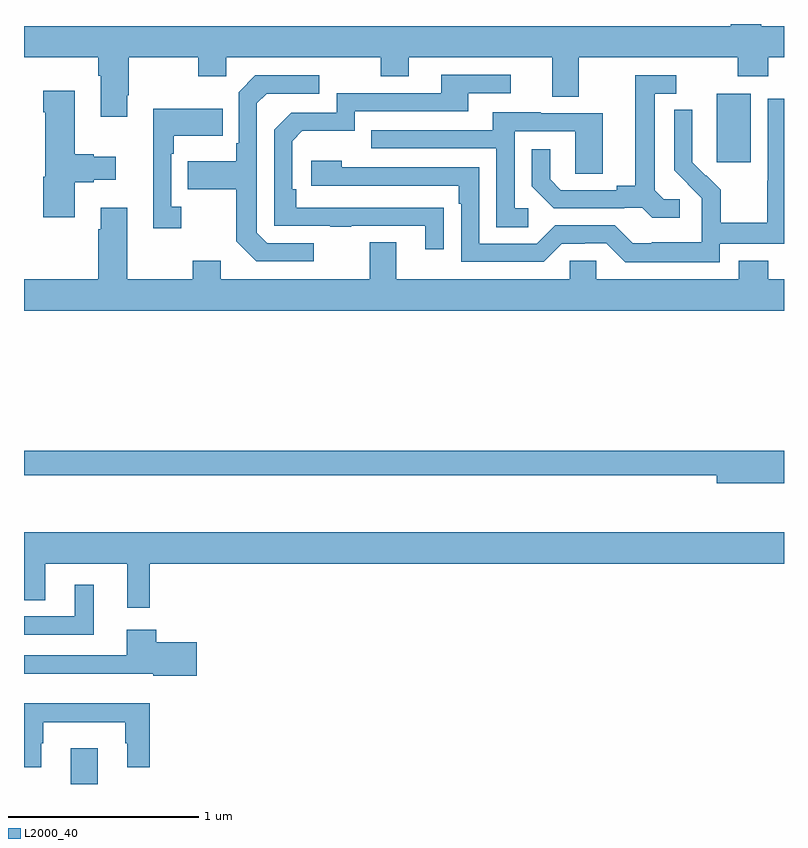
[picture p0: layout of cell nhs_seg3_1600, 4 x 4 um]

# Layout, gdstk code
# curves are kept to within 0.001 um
import gdstk
lib = gdstk.Library(unit=1e-6, precision=1e-09)
def R(c, l, rs):  # rectangles x0, y0, x1, y1
    for r in rs: c.add(gdstk.rectangle(r[:2], r[2:], *l))
def P(c, l, *ps):  # polygons
    for p in ps: c.add(gdstk.Polygon(p, *l))
L2000_40 = (2000, 40)

nhs_seg3_1600 = lib.new_cell('nhs_seg3_1600')
R(nhs_seg3_1600, L2000_40, [(193.247,722.4,193.387,722.587), (196.646,725.673,196.825,726.034)])
P(nhs_seg3_1600, L2000_40, [(193.543,726.025),(193.551,726.025),(193.551,726.224),(193.918,726.224),(193.918,726.125),(194.064,726.125),(194.064,726.224),(194.878,726.224),(194.878,726.125),(195.025,726.125),(195.025,726.224),(195.779,726.224),(195.779,726.016),(195.919,726.016),(195.919,726.224),(196.756,726.224),(196.756,726.125),(196.916,726.125),(196.916,726.224),(197,726.224),(197,726.388),(196.881,726.388),(196.881,726.4),(196.721,726.4),(196.721,726.388),(193,726.388),(193,726.224),(193.391,726.224),(193.391,726.128),(193.403,726.128),(193.403,725.913),(193.543,725.913)],
  [(195.209,725.432),(194.432,725.433),(194.432,725.53),(194.412,725.53),(194.412,725.784),(194.465,725.837),(194.742,725.837),(194.742,725.94),(195.337,725.94),(195.337,726.036),(195.562,726.036),(195.562,726.132),(195.197,726.132),(195.197,726.036),(194.646,726.036),(194.646,725.934),(194.406,725.934),(194.316,725.844),(194.316,725.337),(194.611,725.337),(194.611,725.332),(194.723,725.332),(194.723,725.337),(195.113,725.337),(195.113,725.214),(195.209,725.214)],
  [(194.524,725.247),(194.28,725.247),(194.226,725.301),(194.226,725.982),(194.277,726.033),(194.554,726.033),(194.554,726.129),(194.217,726.129),(194.13,726.042),(194.13,725.773),(194.118,725.773),(194.118,725.677),(193.861,725.677),(193.861,725.53),(194.118,725.53),(194.118,725.257),(194.223,725.151),(194.524,725.151)],
  [(196.45,725.478),(196.368,725.478),(196.321,725.525),(196.321,726.033),(196.432,726.033),(196.432,726.129),(196.217,726.129),(196.217,725.549),(196.121,725.549),(196.121,725.526),(195.826,725.526),(195.769,725.583),(195.769,725.74),(195.672,725.74),(195.672,725.546),(195.788,725.43),(196.16,725.43),(196.16,725.433),(196.254,725.433),(196.306,725.381),(196.45,725.381)],
  [(193.267,725.567),(193.367,725.567),(193.367,725.579),(193.483,725.579),(193.483,725.701),(193.367,725.701),(193.367,725.714),(193.267,725.714),(193.267,726.049),(193.1,726.049),(193.1,725.936),(193.112,725.936),(193.112,725.597),(193.1,725.597),(193.1,725.382),(193.267,725.382)],
  [(196.662,725.244),(197,725.244),(197,726.006),(196.914,726.006),(196.914,725.576),(196.912,725.576),(196.912,725.353),(196.667,725.353),(196.667,725.527),(196.59,725.604),(196.587,725.601),(196.517,725.672),(196.518,725.948),(196.422,725.948),(196.422,725.63),(196.568,725.482),(196.568,725.385),(196.566,725.385),(196.566,725.251),(196.303,725.251),(196.303,725.247),(196.203,725.247),(196.11,725.34),(195.795,725.34),(195.699,725.244),(195.396,725.244),(195.396,725.646),(194.672,725.646),(194.672,725.68),(194.511,725.68),(194.511,725.55),(195.287,725.55),(195.287,725.453),(195.3,725.453),(195.3,725.148),(195.735,725.148),(195.831,725.244),(195.95,725.244),(195.95,725.247),(196.065,725.247),(196.165,725.147),(196.662,725.147)],
  [(193.828,725.438),(193.776,725.438),(193.776,725.717),(193.789,725.717),(193.789,725.813),(194.045,725.813),(194.045,725.953),(193.679,725.953),(193.679,725.325),(193.828,725.325)],
  [(195.655,725.43),(195.582,725.43),(195.582,725.835),(195.9,725.835),(195.9,725.611),(196.045,725.611),(196.045,725.931),(195.721,725.931),(195.721,725.935),(195.467,725.935),(195.467,725.841),(194.827,725.841),(194.827,725.745),(195.486,725.745),(195.486,725.329),(195.655,725.329)],
  [(197,725.056),(196.916,725.056),(196.916,725.155),(196.763,725.155),(196.763,725.056),(196.011,725.056),(196.011,725.154),(195.873,725.154),(195.873,725.056),(194.959,725.056),(194.959,725.251),(194.819,725.251),(194.819,725.056),(194.035,725.056),(194.035,725.155),(193.888,725.155),(193.888,725.056),(193.543,725.056),(193.543,725.434),(193.403,725.434),(193.403,725.321),(193.391,725.321),(193.391,725.056),(193,725.056),(193,724.892),(197,724.892)],
  [(197,724.154),(193,724.154),(193,724.026),(196.646,724.026),(196.646,723.983),(197,723.983)],
  [(193.661,723.56),(197,723.56),(197,723.724),(193,723.724),(193,723.367),(193.111,723.367),(193.111,723.56),(193.544,723.56),(193.544,723.327),(193.661,723.327)],
  [(193.367,723.448),(193.268,723.448),(193.268,723.282),(193,723.282),(193,723.186),(193.367,723.186)],
  [(193.909,723.147),(193.697,723.147),(193.697,723.211),(193.541,723.211),(193.541,723.078),(193,723.078),(193,722.981),(193.68,722.981),(193.68,722.969),(193.909,722.969)],
  [(193.09,722.615),(193.102,722.615),(193.102,722.726),(193.533,722.726),(193.533,722.615),(193.544,722.615),(193.544,722.487),(193.661,722.487),(193.661,722.824),(193,722.824),(193,722.487),(193.09,722.487)])

lib.write_gds('nhs_seg3_1600.gds')
